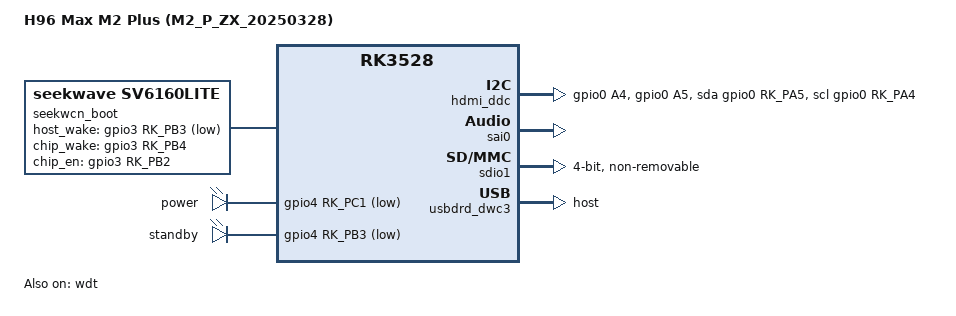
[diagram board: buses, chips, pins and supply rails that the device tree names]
/dts-v1/;

/*
 * Written by tools/dtcx/upstream.py from board.dts: a view, not edited.
 * Over rockchip-linux/kernel at 77168c8d5ab8.
 */

#include "rk3528-evb1-ddr4-v10.dts"
#include <dt-bindings/clock/rk3528-cru.h>
#include <dt-bindings/gpio/gpio.h>
#include <dt-bindings/pinctrl/rockchip.h>
#include <dt-bindings/input/linux-event-codes.h>
#include <dt-bindings/suspend/rockchip-rk3528.h>

/ {
	/* The radio driver selects board NV settings from the first compatible. */
	compatible = "h96max-m2-plus,rk3528-tvbox", "rockchip,rk3528-evb1-ddr4-v10", "rockchip,rk3528";
	model = "H96 Max M2 Plus (M2_P_ZX_20250328)";

	/* the HDMI DDC lines as a full I2C bus: dw-hdmi's own master reads the EDID but refuses DDC/CI */
	hdmi_ddc: i2c-hdmi-ddc {
		compatible = "i2c-gpio";
		sda-gpios = <&gpio0 RK_PA5 GPIO_OPEN_DRAIN>;
		scl-gpios = <&gpio0 RK_PA4 GPIO_OPEN_DRAIN>;
		i2c-gpio,delay-us = <5>;
		pinctrl-names = "default";
		pinctrl-0 = <&hdmi_ddc_gpio>;
		#address-cells = <1>;
		#size-cells = <0>;
	};

	seekwcn_boot: seekwcn_boot {
		compatible = "seekwave,sv6160lite";
		dma_type = <0x01>;
		seekwave_nv_name = "SEEKWAVE_NV_SWT6652.bin";
		gpio_host_wake = <&gpio3 RK_PB3 GPIO_ACTIVE_LOW>;
		gpio_chip_wake = <&gpio3 RK_PB4 GPIO_ACTIVE_HIGH>;
		gpio_chip_en = <&gpio3 RK_PB2 GPIO_ACTIVE_HIGH>;
		status = "okay";
	};

	leds: gpio-leds {
		compatible = "gpio-leds";

		/* Shared LED hooks address these names. */
		power {
			gpios = <&gpio4 RK_PC1 GPIO_ACTIVE_LOW>;
			linux,default-trigger = "none";
			default-state = "on";
			retain-state-suspended;
			retain-state-shutdown;
		};

		standby {
			gpios = <&gpio4 RK_PB3 GPIO_ACTIVE_LOW>;
			linux,default-trigger = "none";
			default-state = "off";
			retain-state-suspended;
			retain-state-shutdown;
		};
	};
};

&adc_keys {
	vol-up-key {
		/* The recovery button, not a volume key: mainline's code for one. */
		linux,code = <KEY_VENDOR>;
	};
};

&cpu0_opp_table {
	rockchip,pvtm-voltage-sel = <0 1320 0>, <1321 1350 1>, <1351 1375 2>, <1376 1405 3>,
	                            <1406 1435 4>, <1436 1470 5>, <1471 1505 6>,
	                            <1506 1540 7>, <1541 1575 8>, <1576 1610 9>,
	                            <1611 1640 10>, <1641 9999 11>;
};

&dmc {
	system-status-level = <1 8>;
};

&dmc_opp_table {
	rockchip,leakage-voltage-sel = <1 10 0>, <11 14 1>, <15 22 2>, <23 28 3>,
	                               <29 254 4>;
};

&gmac1 {
	status = "disabled";
};

&gpu {
	/* Mainline lima bindings replace the vendor Mali names. */
	interrupt-names = "gp", "gpmmu", "pp", "pp0", "ppmmu0", "pp1", "ppmmu1";
	clocks = <&cru ACLK_GPU_MALI>, <&cru ACLK_GPU_MALI>;
	clock-names = "bus", "core";
};

&gpu_bus_opp_table {
	rockchip,leakage-voltage-sel = <1 22 0>, <23 254 1>;
};

&gpu_opp_table {
	rockchip,pvtm-voltage-sel = <0 750 0>, <751 770 1>, <771 790 2>, <791 810 3>,
	                            <811 830 4>, <831 850 5>, <851 870 6>, <871 890 7>,
	                            <891 9999 8>;
};

&gpu_power_model {
	ls = <0xffffc2d6 0x1071a 0x00>;
	ts = <0x302a42 0x1d55a 0xfffff636 0x27>;
};

&hdmi {
	ddc-i2c-bus = <&hdmi_ddc>;
};

&hdmi_pins {
	rockchip,pins = <0 RK_PA3 1 &pcfg_pull_none>;
};

&i2c6 {
	status = "disabled";
};

&pinctrl {
	hdmi {
		hdmi_ddc_gpio: hdmi-ddc-gpio {
			rockchip,pins = <0 RK_PA4 RK_FUNC_GPIO &pcfg_pull_none>,
			                <0 RK_PA5 RK_FUNC_GPIO &pcfg_pull_none>;
		};
	};
};

&pwm3 {
	/* Register IR as an ATF wake source. */
	remote_support_psci = <0x01>;

	ir_key4 {
		rockchip,usercode = <0x7f80>;
		rockchip,key_table = <0xec KEY_REPLY>, <0xd8 KEY_BACK>, <0xc7 KEY_UP>,
		                     <0xbf KEY_DOWN>, <0xc8 KEY_LEFT>, <0xc6 KEY_RIGHT>,
		                     <0x8c KEY_HOME>, <0x78 KEY_VOLUMEUP>,
		                     <0x76 KEY_VOLUMEDOWN>, <0x7e KEY_POWER>,
		                     <0x7c KEY_MENU>, <0xb7 KEY_TEXT>;
	};

	ir_key5 {
		rockchip,usercode = <0xfeaa>;
		rockchip,key_table = <0xec KEY_REPLY>, <0xe6 KEY_BACK>, <0xe9 KEY_UP>,
		                     <0xe5 KEY_DOWN>, <0xae KEY_LEFT>, <0xaf KEY_RIGHT>,
		                     <0xee KEY_HOME>, <0xe7 KEY_VOLUMEUP>,
		                     <0xef KEY_VOLUMEDOWN>, <0xbf KEY_POWER>,
		                     <0xbe KEY_MUTE>, <0xb3 KEY_MENU>, <0xff KEY_TEXT>,
		                     <0xb1 KEY_RED>, <0xf2 KEY_GREEN>, <0xf3 KEY_3>,
		                     <0xb5 KEY_4>, <0xf6 KEY_5>, <0xf7 KEY_6>,
		                     <0xb9 KEY_YELLOW>, <0xfa KEY_BLUE>, <0xfb KEY_9>,
		                     <0xfe KEY_0>, <0xbd KEY_BACKSPACE>, <0xbc KEY_F13>,
		                     <0xf0 KEY_F16>, <0xb4 KEY_PREVIOUS>, <0xb8 KEY_A>,
		                     <0xb0 KEY_NEXT>;
	};

	ir_key6 {
		rockchip,usercode = <0xfb04>;
		/* The bundled remote, onto the canonical keymap: cog, voice, mouse, OK, home and the four app keys. */
		rockchip,key_table = <0xf7 KEY_POWER>, <0xd0 KEY_TOUCHPAD_TOGGLE>,
		                     <0xb5 KEY_MENU>, <0x5b KEY_SEARCH>, <0x4d KEY_CONFIG>,
		                     <0xba KEY_UP>, <0xb9 KEY_DOWN>, <0xb8 KEY_LEFT>,
		                     <0xb7 KEY_RIGHT>, <0xbb KEY_OK>, <0xe5 KEY_BACK>,
		                     <0xe4 KEY_BACKSPACE>, <0xd2 KEY_HOMEPAGE>,
		                     <0xfd KEY_VOLUMEUP>, <0xfc KEY_VOLUMEDOWN>,
		                     <0xf6 KEY_MUTE>, <0xff KEY_CHANNELUP>,
		                     <0xfe KEY_CHANNELDOWN>, <0xe8 KEY_F4>, <0x6f KEY_F5>,
		                     <0x9e KEY_1>, <0x9d KEY_2>, <0x9c KEY_3>, <0x9b KEY_4>,
		                     <0x9a KEY_5>, <0x99 KEY_6>, <0x98 KEY_7>, <0x97 KEY_8>,
		                     <0x96 KEY_9>, <0x9f KEY_0>, <0x04 KEY_RED>,
		                     <0x14 KEY_YELLOW>, <0x4c KEY_BLUE>, <0x4b KEY_GREEN>;
	};

	ir_key7 {
		rockchip,usercode = <0xfe01>;
		rockchip,key_table = <0xec KEY_REPLY>, <0xe6 KEY_BACK>, <0xe9 KEY_UP>,
		                     <0xe5 KEY_DOWN>, <0xae KEY_LEFT>, <0xaf KEY_RIGHT>,
		                     <0xee KEY_HOME>, <0xe7 KEY_VOLUMEUP>,
		                     <0xef KEY_VOLUMEDOWN>, <0xbf KEY_POWER>,
		                     <0xbe KEY_MUTE>, <0xb3 KEY_MENU>, <0xff KEY_TEXT>,
		                     <0xb1 KEY_1>, <0xf2 KEY_2>, <0xf3 KEY_3>, <0xb5 KEY_4>,
		                     <0xf6 KEY_5>, <0xf7 KEY_6>, <0xb9 KEY_7>, <0xfa KEY_8>,
		                     <0xfb KEY_9>, <0xfe KEY_0>, <0xbd KEY_BACKSPACE>,
		                     <0xbc KEY_F13>, <0xf0 KEY_F16>, <0xb4 KEY_PREVIOUS>,
		                     <0xb8 KEY_A>, <0xb0 KEY_NEXT>;
	};

	ir_key8 {
		rockchip,key_table = <0x31 KEY_REPLY>, <0x6a KEY_BACK>, <0x35 KEY_UP>,
		                     <0x2d KEY_DOWN>, <0x66 KEY_LEFT>, <0x3e KEY_RIGHT>,
		                     <0x7f KEY_VOLUMEUP>, <0x7e KEY_VOLUMEDOWN>,
		                     <0x23 KEY_POWER>, <0x63 KEY_MUTE>, <0x6d KEY_1>,
		                     <0x6c KEY_2>, <0x33 KEY_3>, <0x71 KEY_4>, <0x70 KEY_5>,
		                     <0x37 KEY_6>, <0x75 KEY_7>, <0x74 KEY_8>, <0x3b KEY_9>,
		                     <0x78 KEY_0>, <0x73 KEY_PAGEDOWN>, <0x22 KEY_PAGEUP>,
		                     <0x72 KEY_SETUP>, <0x7a 0xf9>, <0x79 0xfa>,
		                     <0x77 0xfb>, <0x2f 0xfc>, <0x32 0xfd>, <0x6e 0xfe>,
		                     <0x7c 0xff>, <0x3c BTN_0>, <0x3a KEY_HELP>,
		                     <0x67 BTN_1>, <0x25 BTN_3>, <0x7d KEY_MENU>,
		                     <0x3f KEY_EQUAL>, <0x29 KEY_TEXT>,
		                     <0x26 KEY_PLAYPAUSE>, <0x76 KEY_BLUE>,
		                     <0x7b KEY_YELLOW>, <0x69 KEY_F8>;
	};

	ir_key9 {
		rockchip,key_table = <0x81 KEY_REPLY>, <0x80 KEY_BACK>, <0x85 KEY_UP>,
		                     <0x87 KEY_DOWN>, <0x84 KEY_LEFT>, <0x86 KEY_RIGHT>,
		                     <0x99 KEY_VOLUMEUP>, <0x9a KEY_VOLUMEDOWN>,
		                     <0x96 KEY_POWER>, <0x9b KEY_MUTE>, <0x89 KEY_1>,
		                     <0x8a KEY_2>, <0x8b KEY_3>, <0x8c KEY_4>, <0x8d KEY_5>,
		                     <0x8e KEY_6>, <0x8f KEY_7>, <0x90 KEY_8>, <0x91 KEY_9>,
		                     <0x88 KEY_0>, <0x83 KEY_PAGEDOWN>, <0x82 KEY_PAGEUP>,
		                     <0x95 KEY_SETUP>, <0x97 0xf9>, <0x98 0xfa>,
		                     <0xc6 BTN_4>, <0xd6 0xfb>, <0xd7 0x10e>, <0xcc 0xfc>,
		                     <0xc3 BTN_8>, <0xd1 0xfd>, <0xd2 0xfe>, <0xd3 0xff>,
		                     <0xd4 BTN_0>, <0xc7 0xfd>, <0xc8 0xfe>, <0xc9 0xff>,
		                     <0xca BTN_0>, <0xcd BTN_9>, <0xce 0x10a>,
		                     <0xcf KEY_HELP>, <0xd0 0x10b>, <0x9c BTN_1>,
		                     <0x93 BTN_2>, <0x92 BTN_3>, <0xc0 KEY_END>,
		                     <0xc1 BTN_7>, <0x9d KEY_PLAYPAUSE>, <0xc4 KEY_STOP>,
		                     <0x94 KEY_EQUAL>, <0x9e KEY_YELLOW>, <0x9f KEY_BLUE>,
		                     <0xcb BTN_5>, <0xc5 BTN_6>;
	};
};

&reboot_mode {
	mode-bootloader = <0x5242c301>;
	mode-charge = <0x5242c30b>;
	mode-fastboot = <0x5242c309>;
	mode-loader = <0x5242c301>;
	mode-normal = <0x5242c300>;
	mode-recovery = <0x5242c303>;
	mode-ums = <0x5242c30c>;
	mode-panic = <0x5242c307>;
	mode-watchdog = <0x5242c308>;
	/* Factory SPL reads this flag to enter Maskrom. */
	mode-maskrom = <0xef08a53c>;
};

&rockchip_suspend {
	rockchip,sleep-mode-config = <RKPM_SLP_ARMPD>;
	rockchip,wakeup-config = <(RKPM_CPU0_WKUP_EN | RKPM_GPIO_WKUP_EN)>;
	rockchip,pwm-regulator-config = <(RKPM_PWM0_M0_REGULATOR_EN | RKPM_PWM1_M0_REGULATOR_EN)>;
};

&route_hdmi {
	/delete-property/ logo,kernel;
	logo,mode = "fullscreen";
};

&route_tve {
	/delete-property/ logo,kernel;
	logo,mode = "fullscreen";
};

&sai0 {
	pinctrl-0 = <&i2s0m0_lrck>, <&i2s0m0_sclk>, <&i2s0m0_sdi>, <&i2s0m0_sdo>;
	status = "okay";
};

&sai1 {
	status = "disabled";
};

&sdhci {
	/delete-property/ mmc-hs400-1_8v;
	/delete-property/ mmc-hs400-enhanced-strobe;
	max-frequency = <100000000>;
	mmc-hs200-1_8v;
};

&sdio0 {
	status = "disabled";
};

&sdio1 {
	max-frequency = <200000000>;
	no-sd;
	no-mmc;
	supports-sdio;
	bus-width = <4>;
	disable-wp;
	cap-sd-highspeed;
	cap-sdio-irq;
	keep-power-in-suspend;
	non-removable;
	mmc-pwrseq = <&sdio_pwrseq>;
	pinctrl-names = "default";
	pinctrl-0 = <&sdio1_bus4>, <&sdio1_cmd>, <&sdio1_clk>;
	sd-uhs-sdr104;
	status = "okay";
};

&sdio1_bus4 {
	rockchip,pins = <3 RK_PA6 1 &pcfg_pull_up_drv_level_3>,
	                <3 RK_PA7 1 &pcfg_pull_up_drv_level_3>,
	                <3 RK_PB0 1 &pcfg_pull_up_drv_level_3>,
	                <3 RK_PB1 1 &pcfg_pull_up_drv_level_3>;
};

&sdio1_clk {
	rockchip,pins = <3 RK_PA4 1 &pcfg_pull_up_drv_level_3>;
};

&sdio1_cmd {
	rockchip,pins = <3 RK_PA5 1 &pcfg_pull_up_drv_level_3>;
};

&sdio_pwrseq {
	reset-gpios = <&gpio3 RK_PB2 GPIO_ACTIVE_LOW>;
	/* Each failed init retries after a power-off; a reset this long restarts a chip left running by a warm reboot. */
	power-off-delay-us = <200000>;
};

&tve {
	rockchip,tve-upsample = <0x02>;
};

&usbdrd_dwc3 {
	dr_mode = "host";
};

&vcc5v0_otg {
	gpio = <&gpio4 RK_PB4 GPIO_ACTIVE_HIGH>;
};

&vop {
	/delete-property/ support-multi-area;
	/* Give Esmart0 a 4K line buffer; sub-windows do not reach HDMI. */
	esmart_lb_mode = [02];
};

&wdt {
	/* Let systemd recover a hung kernel. */
	status = "okay";
};

&wifi_enable_h {
	rockchip,pins = <3 RK_PB2 RK_FUNC_GPIO &pcfg_pull_none>;
};

&wireless_bluetooth {
	status = "disabled";
};

&wireless_wlan {
	status = "disabled";
};
